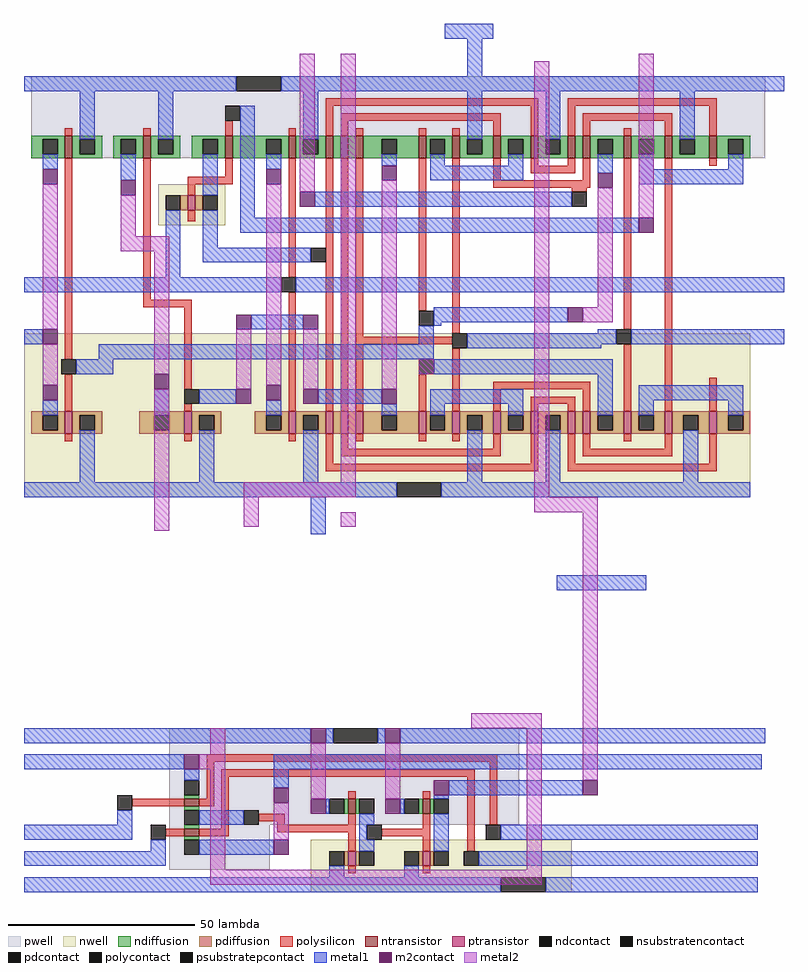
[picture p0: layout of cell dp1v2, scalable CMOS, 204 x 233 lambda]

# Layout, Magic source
magic
tech scmos
<< pwell >>
rect -10 -202 84 -176
rect -10 -214 17 -202
<< nwell >>
rect 28 -220 98 -206
<< polysilicon >>
rect 0 -185 78 -183
rect 0 -195 2 -185
rect -20 -197 -6 -195
rect -2 -197 2 -195
rect 4 -189 72 -187
rect 4 -203 6 -189
rect 38 -195 40 -193
rect 58 -195 60 -193
rect 14 -201 21 -199
rect 19 -202 21 -201
rect 38 -202 40 -199
rect -11 -205 -6 -203
rect -2 -205 6 -203
rect 19 -204 40 -202
rect 38 -209 40 -204
rect 58 -203 60 -199
rect 47 -205 60 -203
rect 58 -209 60 -205
rect 70 -209 72 -189
rect 76 -202 78 -185
rect 38 -215 40 -213
rect 58 -215 60 -213
<< ndiffusion >>
rect -6 -195 -2 -194
rect -6 -198 -2 -197
rect -6 -203 -2 -202
rect 37 -199 38 -195
rect 40 -199 41 -195
rect 57 -199 58 -195
rect 60 -199 61 -195
rect -6 -206 -2 -205
<< pdiffusion >>
rect 37 -213 38 -209
rect 40 -213 41 -209
rect 57 -213 58 -209
rect 60 -213 61 -209
<< metal1 >>
rect 94 -139 118 -135
rect -49 -180 28 -176
rect 32 -180 34 -176
rect 46 -180 48 -176
rect 52 -180 150 -176
rect -49 -187 -6 -183
rect -6 -190 -2 -187
rect 18 -187 149 -183
rect 18 -192 22 -187
rect 65 -194 101 -190
rect 61 -195 65 -194
rect -24 -202 -20 -198
rect -2 -202 10 -198
rect 32 -199 33 -195
rect 52 -199 53 -195
rect 41 -202 45 -199
rect -49 -206 -20 -202
rect 41 -206 43 -202
rect -15 -209 -11 -206
rect -49 -213 -11 -209
rect -2 -210 18 -206
rect 41 -209 45 -206
rect 61 -209 65 -199
rect 79 -206 148 -202
rect 73 -213 148 -209
rect 33 -216 37 -213
rect 53 -216 57 -213
rect -49 -220 79 -216
rect 91 -220 148 -216
<< metal2 >>
rect 92 -118 105 -114
rect 71 -176 90 -172
rect 1 -183 5 -176
rect -2 -187 5 -183
rect 1 -214 5 -187
rect 18 -206 22 -196
rect 28 -195 32 -180
rect 48 -195 52 -180
rect 86 -214 90 -176
rect 101 -190 105 -118
rect 1 -218 90 -214
<< ntransistor >>
rect -6 -197 -2 -195
rect 38 -199 40 -195
rect 58 -199 60 -195
rect -6 -205 -2 -203
<< ptransistor >>
rect 38 -213 40 -209
rect 58 -213 60 -209
<< polycontact >>
rect -24 -198 -20 -194
rect -15 -206 -11 -202
rect 10 -202 14 -198
rect 43 -206 47 -202
rect 75 -206 79 -202
rect 69 -213 73 -209
<< ndcontact >>
rect -6 -194 -2 -190
rect -6 -202 -2 -198
rect 33 -199 37 -195
rect 41 -199 45 -195
rect 53 -199 57 -195
rect 61 -199 65 -195
rect -6 -210 -2 -206
<< pdcontact >>
rect 33 -213 37 -209
rect 41 -213 45 -209
rect 53 -213 57 -209
rect 61 -213 65 -209
<< m2contact >>
rect 28 -180 32 -176
rect 48 -180 52 -176
rect -6 -187 -2 -183
rect 18 -196 22 -192
rect 61 -194 65 -190
rect 101 -194 105 -190
rect 28 -199 32 -195
rect 48 -199 52 -195
rect 18 -210 22 -206
<< psubstratepcontact >>
rect 34 -180 46 -176
<< nsubstratencontact >>
rect 79 -220 91 -216
use addsub  addsub_0
transform 1 0 58 0 1 -66
box -107 -58 97 79
<< end >>

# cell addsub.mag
magic
tech scmos
<< pwell >>
rect -105 43 92 65
<< nwell >>
rect -71 25 -53 36
rect -107 -48 88 -4
<< polysilicon >>
rect -26 57 31 59
rect -96 49 -94 51
rect -75 49 -73 51
rect -53 49 -51 53
rect -36 49 -34 51
rect -26 49 -24 57
rect -22 53 21 55
rect -22 49 -20 53
rect -18 49 -16 51
rect -1 49 1 51
rect 8 49 10 51
rect 19 49 21 53
rect 29 49 31 57
rect 39 57 79 59
rect 39 49 41 57
rect 43 53 67 55
rect 43 49 45 53
rect 54 49 56 51
rect 65 49 67 53
rect 77 49 79 57
rect -96 -11 -94 43
rect -75 5 -73 43
rect -53 38 -51 43
rect -63 36 -51 38
rect -63 33 -61 36
rect -63 26 -61 29
rect -36 11 -34 43
rect -75 3 -62 5
rect -96 -25 -94 -15
rect -64 -19 -62 3
rect -64 -25 -62 -23
rect -36 -25 -34 7
rect -26 -25 -24 43
rect -22 -25 -20 43
rect -18 -5 -16 43
rect -1 2 1 43
rect 8 -4 10 43
rect 19 37 21 43
rect 29 41 31 43
rect 39 41 41 43
rect 29 39 41 41
rect 43 37 45 43
rect 19 35 45 37
rect 40 34 44 35
rect 54 -3 56 43
rect -18 -7 8 -5
rect -18 -25 -16 -7
rect -1 -25 1 -15
rect 8 -25 10 -8
rect 19 -19 45 -17
rect 19 -25 21 -19
rect 29 -23 41 -21
rect 29 -25 31 -23
rect 39 -25 41 -23
rect 43 -25 45 -19
rect 54 -25 56 -7
rect 65 -25 67 43
rect 77 41 79 43
rect 77 -25 79 -16
rect -96 -33 -94 -31
rect -64 -33 -62 -31
rect -36 -33 -34 -31
rect -26 -39 -24 -31
rect -22 -35 -20 -31
rect -18 -33 -16 -31
rect -1 -33 1 -31
rect 8 -33 10 -31
rect 19 -35 21 -31
rect -22 -37 21 -35
rect 29 -39 31 -31
rect -26 -41 31 -39
rect 39 -39 41 -31
rect 43 -35 45 -31
rect 54 -33 56 -31
rect 65 -35 67 -31
rect 43 -37 67 -35
rect 77 -39 79 -31
rect 39 -41 79 -39
<< ndiffusion >>
rect -105 48 -96 49
rect -105 44 -102 48
rect -98 44 -96 48
rect -105 43 -96 44
rect -94 48 -86 49
rect -94 44 -92 48
rect -88 44 -86 48
rect -94 43 -86 44
rect -83 48 -75 49
rect -83 44 -81 48
rect -77 44 -75 48
rect -83 43 -75 44
rect -73 48 -65 49
rect -73 44 -71 48
rect -67 44 -65 48
rect -73 43 -65 44
rect -62 48 -53 49
rect -62 44 -59 48
rect -55 44 -53 48
rect -62 43 -53 44
rect -51 48 -36 49
rect -51 44 -42 48
rect -38 44 -36 48
rect -51 43 -36 44
rect -34 48 -26 49
rect -34 44 -32 48
rect -28 44 -26 48
rect -34 43 -26 44
rect -24 43 -22 49
rect -20 43 -18 49
rect -16 48 -1 49
rect -16 44 -11 48
rect -7 44 -1 48
rect -16 43 -1 44
rect 1 48 8 49
rect 1 44 2 48
rect 6 44 8 48
rect 1 43 8 44
rect 10 48 19 49
rect 10 44 12 48
rect 16 44 19 48
rect 10 43 19 44
rect 21 48 29 49
rect 21 44 23 48
rect 27 44 29 48
rect 21 43 29 44
rect 31 48 39 49
rect 31 44 33 48
rect 37 44 39 48
rect 31 43 39 44
rect 41 43 43 49
rect 45 48 54 49
rect 45 44 47 48
rect 51 44 54 48
rect 45 43 54 44
rect 56 48 65 49
rect 56 44 58 48
rect 62 44 65 48
rect 56 43 65 44
rect 67 48 77 49
rect 67 44 69 48
rect 73 44 77 48
rect 67 43 77 44
rect 79 48 88 49
rect 79 44 82 48
rect 86 44 88 48
rect 79 43 88 44
<< pdiffusion >>
rect -65 29 -63 33
rect -61 29 -59 33
rect -105 -26 -96 -25
rect -105 -30 -102 -26
rect -98 -30 -96 -26
rect -105 -31 -96 -30
rect -94 -26 -86 -25
rect -94 -30 -92 -26
rect -88 -30 -86 -26
rect -94 -31 -86 -30
rect -76 -26 -64 -25
rect -76 -30 -72 -26
rect -68 -30 -64 -26
rect -76 -31 -64 -30
rect -62 -26 -54 -25
rect -62 -30 -60 -26
rect -56 -30 -54 -26
rect -62 -31 -54 -30
rect -45 -26 -36 -25
rect -45 -30 -42 -26
rect -38 -30 -36 -26
rect -45 -31 -36 -30
rect -34 -26 -26 -25
rect -34 -30 -32 -26
rect -28 -30 -26 -26
rect -34 -31 -26 -30
rect -24 -31 -22 -25
rect -20 -31 -18 -25
rect -16 -26 -1 -25
rect -16 -30 -11 -26
rect -7 -30 -1 -26
rect -16 -31 -1 -30
rect 1 -26 8 -25
rect 1 -30 2 -26
rect 6 -30 8 -26
rect 1 -31 8 -30
rect 10 -26 19 -25
rect 10 -30 12 -26
rect 16 -30 19 -26
rect 10 -31 19 -30
rect 21 -26 29 -25
rect 21 -30 23 -26
rect 27 -30 29 -26
rect 21 -31 29 -30
rect 31 -26 39 -25
rect 31 -30 33 -26
rect 37 -30 39 -26
rect 31 -31 39 -30
rect 41 -31 43 -25
rect 45 -26 54 -25
rect 45 -30 47 -26
rect 51 -30 54 -26
rect 45 -31 54 -30
rect 56 -26 65 -25
rect 56 -30 58 -26
rect 62 -30 65 -26
rect 56 -31 65 -30
rect 67 -26 77 -25
rect 67 -31 70 -26
rect 74 -31 77 -26
rect 79 -26 88 -25
rect 79 -30 82 -26
rect 86 -30 88 -26
rect 79 -31 88 -30
<< metal1 >>
rect 6 75 19 79
rect 12 65 16 75
rect -107 61 -50 65
rect -38 61 97 65
rect -92 48 -88 61
rect -71 48 -67 61
rect -102 40 -98 44
rect -81 37 -77 44
rect -59 33 -55 44
rect -69 11 -65 29
rect -59 19 -55 29
rect -49 27 -45 57
rect -32 48 -28 61
rect 12 48 16 61
rect 33 48 37 61
rect 69 48 73 61
rect -42 40 -38 44
rect -11 41 -7 44
rect 2 41 6 44
rect 23 41 27 44
rect 2 37 27 41
rect 47 39 51 44
rect 58 40 62 44
rect 82 40 86 44
rect 58 36 86 40
rect -29 30 40 34
rect -49 23 58 27
rect -59 15 -30 19
rect -107 7 -38 11
rect -34 7 97 11
rect -46 -3 -32 1
rect 3 -1 39 3
rect 3 -2 5 -1
rect -107 -7 -102 -3
rect -1 -7 3 -2
rect 47 -4 52 -3
rect -87 -11 3 -7
rect 12 -7 52 -4
rect 56 -7 97 -3
rect 12 -8 48 -7
rect -93 -15 -83 -11
rect 3 -15 51 -11
rect -102 -26 -98 -22
rect -72 -26 -68 -19
rect -60 -23 -50 -19
rect -42 -26 -38 -22
rect -28 -23 -11 -19
rect -11 -26 -7 -23
rect 2 -23 27 -19
rect 2 -26 6 -23
rect 23 -26 27 -23
rect 47 -26 51 -15
rect 58 -22 86 -18
rect 58 -26 62 -22
rect 82 -26 86 -22
rect -92 -44 -88 -30
rect -60 -44 -56 -30
rect -32 -44 -28 -30
rect 12 -44 16 -30
rect 33 -44 37 -30
rect 70 -44 74 -30
rect -107 -48 -7 -44
rect 5 -48 88 -44
rect -30 -58 -26 -48
<< metal2 >>
rect -102 -3 -98 36
rect -81 22 -77 33
rect -81 18 -68 22
rect -102 -18 -98 -7
rect -72 -15 -68 18
rect -72 -57 -68 -19
rect -50 -19 -46 -3
rect -42 -18 -38 36
rect -33 34 -29 71
rect -32 -19 -28 -3
rect -22 -44 -18 71
rect -11 -19 -7 37
rect -1 -15 3 -11
rect -48 -48 -18 -44
rect -48 -56 -44 -48
rect 30 -52 34 69
rect 47 3 51 35
rect 58 27 62 71
rect 43 -1 51 3
rect -22 -56 -18 -52
<< ntransistor >>
rect -96 43 -94 49
rect -75 43 -73 49
rect -53 43 -51 49
rect -36 43 -34 49
rect -26 43 -24 49
rect -22 43 -20 49
rect -18 43 -16 49
rect -1 43 1 49
rect 8 43 10 49
rect 19 43 21 49
rect 29 43 31 49
rect 39 43 41 49
rect 43 43 45 49
rect 54 43 56 49
rect 65 43 67 49
rect 77 43 79 49
<< ptransistor >>
rect -63 29 -61 33
rect -96 -31 -94 -25
rect -64 -31 -62 -25
rect -36 -31 -34 -25
rect -26 -31 -24 -25
rect -22 -31 -20 -25
rect -18 -31 -16 -25
rect -1 -31 1 -25
rect 8 -31 10 -25
rect 19 -31 21 -25
rect 29 -31 31 -25
rect 39 -31 41 -25
rect 43 -31 45 -25
rect 54 -31 56 -25
rect 65 -31 67 -25
rect 77 -31 79 -25
<< polycontact >>
rect -53 53 -49 57
rect -30 15 -26 19
rect -38 7 -34 11
rect -97 -15 -93 -11
rect -64 -23 -60 -19
rect -1 -2 3 2
rect 40 30 44 34
rect 8 -8 12 -4
rect 52 -7 56 -3
rect -1 -15 3 -11
<< ndcontact >>
rect -102 44 -98 48
rect -92 44 -88 48
rect -81 44 -77 48
rect -71 44 -67 48
rect -59 44 -55 48
rect -42 44 -38 48
rect -32 44 -28 48
rect -11 44 -7 48
rect 2 44 6 48
rect 12 44 16 48
rect 23 44 27 48
rect 33 44 37 48
rect 47 44 51 48
rect 58 44 62 48
rect 69 44 73 48
rect 82 44 86 48
<< pdcontact >>
rect -69 29 -65 33
rect -59 29 -55 33
rect -102 -30 -98 -26
rect -92 -30 -88 -26
rect -72 -30 -68 -26
rect -60 -30 -56 -26
rect -42 -30 -38 -26
rect -32 -30 -28 -26
rect -11 -30 -7 -26
rect 2 -30 6 -26
rect 12 -30 16 -26
rect 23 -30 27 -26
rect 33 -30 37 -26
rect 47 -30 51 -26
rect 58 -30 62 -26
rect 70 -30 74 -26
rect 82 -30 86 -26
<< m2contact >>
rect -102 36 -98 40
rect -81 33 -77 37
rect -42 36 -38 40
rect -11 37 -7 41
rect 47 35 51 39
rect -33 30 -29 34
rect 58 23 62 27
rect -50 -3 -46 1
rect -32 -3 -28 1
rect 39 -1 43 3
rect -102 -7 -98 -3
rect -102 -22 -98 -18
rect -72 -19 -68 -15
rect -50 -23 -46 -19
rect -42 -22 -38 -18
rect -32 -23 -28 -19
rect -11 -23 -7 -19
<< psubstratepcontact >>
rect -50 61 -38 65
<< nsubstratencontact >>
rect -7 -48 5 -44
<< end >>
